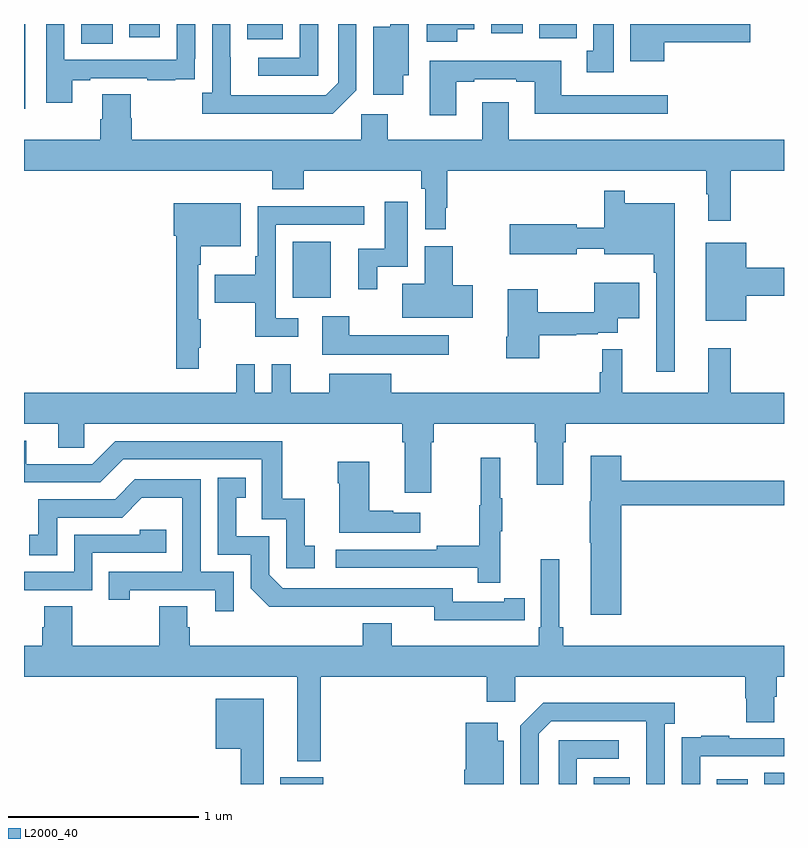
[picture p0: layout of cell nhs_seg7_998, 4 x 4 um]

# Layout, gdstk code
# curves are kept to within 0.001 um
import gdstk
lib = gdstk.Library(unit=1e-6, precision=1e-09)
def R(c, l, rs):  # rectangles x0, y0, x1, y1
    for r in rs: c.add(gdstk.rectangle(r[:2], r[2:], *l))
def P(c, l, *ps):  # polygons
    for p in ps: c.add(gdstk.Polygon(p, *l))
L2000_40 = (2000, 40)

nhs_seg7_998 = lib.new_cell('nhs_seg7_998')
R(nhs_seg7_998, L2000_40, [(184.349,1052,184.576,1052.035), (185.999,1052,186.187,1052.035), (186.647,1052,186.808,1052.026), (186.896,1052,187,1052.06), (184.415,1054.559,184.615,1054.855), (183,1055.553,183.007,1056), (183.302,1055.896,183.466,1056), (184.175,1055.921,184.363,1056), (185.711,1055.924,185.908,1056), (183.554,1055.931,183.715,1056), (185.459,1055.952,185.626,1056)])
P(nhs_seg7_998, L2000_40, [(184.548,1056),(184.452,1056),(184.452,1055.823),(184.233,1055.823),(184.233,1055.727),(184.548,1055.727)],
  [(186.103,1056),(185.996,1056),(185.996,1055.858),(185.963,1055.858),(185.963,1055.745),(186.103,1055.745)],
  [(184.996,1055.729),(185.025,1055.729),(185.025,1056),(184.928,1056),(184.928,1055.986),(184.838,1055.986),(184.838,1055.628),(184.996,1055.628)],
  [(183.253,1055.703),(183.349,1055.703),(183.349,1055.715),(183.649,1055.715),(183.649,1055.703),(183.797,1055.703),(183.797,1055.709),(183.899,1055.709),(183.899,1055.818),(183.9,1055.818),(183.9,1056),(183.804,1056),(183.804,1055.811),(183.213,1055.811),(183.213,1056),(183.117,1056),(183.117,1055.586),(183.253,1055.586)],
  [(184.749,1055.651),(184.749,1056),(184.653,1056),(184.653,1055.691),(184.587,1055.625),(184.087,1055.625),(184.086,1056),(183.99,1056),(183.99,1055.638),(183.939,1055.638),(183.939,1055.528),(184.626,1055.528)],
  [(186.37,1055.903),(186.823,1055.903),(186.823,1056),(186.191,1056),(186.191,1055.804),(186.37,1055.804)],
  [(185.281,1055.972),(185.371,1055.972),(185.371,1056),(185.12,1056),(185.12,1055.907),(185.281,1055.907)],
  [(185.275,1055.697),(185.371,1055.697),(185.371,1055.709),(185.591,1055.709),(185.591,1055.697),(185.687,1055.697),(185.687,1055.528),(186.388,1055.528),(186.388,1055.625),(185.827,1055.625),(185.827,1055.806),(185.135,1055.806),(185.135,1055.52),(185.275,1055.52)],
  [(185.551,1055.587),(185.411,1055.587),(185.411,1055.392),(184.915,1055.392),(184.915,1055.524),(184.776,1055.524),(184.776,1055.392),(183.566,1055.392),(183.566,1055.505),(183.561,1055.505),(183.561,1055.63),(183.413,1055.63),(183.413,1055.498),(183.401,1055.498),(183.401,1055.392),(183,1055.392),(183,1055.228),(184.307,1055.228),(184.307,1055.129),(184.472,1055.129),(184.472,1055.228),(185.092,1055.228),(185.092,1055.132),(185.112,1055.132),(185.112,1054.92),(185.221,1054.92),(185.221,1055.032),(185.228,1055.032),(185.228,1055.228),(186.591,1055.228),(186.591,1055.105),(186.602,1055.105),(186.602,1054.965),(186.719,1054.965),(186.719,1055.228),(187,1055.228),(187,1055.392),(185.551,1055.392)],
  [(186.424,1055.056),(186.163,1055.056),(186.163,1055.122),(186.053,1055.122),(186.053,1054.927),(185.908,1054.927),(185.908,1054.945),(185.556,1054.945),(185.556,1054.787),(185.908,1054.787),(185.908,1054.817),(186.053,1054.817),(186.053,1054.787),(186.315,1054.787),(186.315,1054.691),(186.327,1054.691),(186.327,1054.17),(186.424,1054.17)],
  [(184.858,1054.722),(185.02,1054.722),(185.02,1055.065),(184.898,1055.065),(184.898,1054.818),(184.76,1054.818),(184.76,1054.605),(184.858,1054.605)],
  [(183.92,1054.297),(183.931,1054.297),(183.931,1054.445),(183.918,1054.445),(183.918,1054.733),(183.931,1054.733),(183.931,1054.829),(184.141,1054.829),(184.141,1055.056),(183.788,1055.056),(183.788,1054.886),(183.802,1054.886),(183.802,1054.185),(183.92,1054.185)],
  [(184.444,1054.452),(184.326,1054.452),(184.326,1054.944),(184.792,1054.944),(184.792,1055.042),(184.555,1055.042),(184.555,1055.04),(184.23,1055.04),(184.23,1054.777),(184.218,1054.777),(184.218,1054.681),(184.003,1054.681),(184.003,1054.534),(184.218,1054.534),(184.218,1054.355),(184.444,1054.355)],
  [(186.802,1054.571),(187,1054.571),(187,1054.718),(186.802,1054.718),(186.802,1054.849),(186.587,1054.849),(186.587,1054.439),(186.802,1054.439)],
  [(185.362,1054.625),(185.256,1054.625),(185.256,1054.831),(185.108,1054.831),(185.108,1054.633),(184.991,1054.633),(184.991,1054.454),(185.362,1054.454)],
  [(185.712,1054.362),(185.906,1054.362),(185.906,1054.367),(186.02,1054.367),(186.02,1054.374),(186.124,1054.374),(186.124,1054.451),(186.238,1054.451),(186.238,1054.639),(186.002,1054.639),(186.002,1054.483),(185.704,1054.483),(185.704,1054.603),(185.546,1054.603),(185.546,1054.354),(185.539,1054.354),(185.539,1054.242),(185.712,1054.242)],
  [(185.236,1054.363),(184.711,1054.363),(184.711,1054.462),(184.571,1054.462),(184.571,1054.259),(185.236,1054.259)],
  [(184.933,1054.159),(184.607,1054.159),(184.607,1054.06),(184.403,1054.06),(184.403,1054.21),(184.305,1054.21),(184.305,1054.06),(184.215,1054.06),(184.215,1054.21),(184.118,1054.21),(184.118,1054.06),(183,1054.06),(183,1053.896),(183.179,1053.896),(183.179,1053.769),(183.318,1053.769),(183.318,1053.896),(184.991,1053.896),(184.991,1053.8),(185.003,1053.8),(185.003,1053.534),(185.143,1053.534),(185.143,1053.8),(185.156,1053.8),(185.156,1053.896),(185.687,1053.896),(185.687,1053.8),(185.699,1053.8),(185.699,1053.576),(185.839,1053.576),(185.839,1053.8),(185.852,1053.8),(185.852,1053.896),(187,1053.896),(187,1054.06),(186.719,1054.06),(186.719,1054.294),(186.602,1054.294),(186.602,1054.06),(186.149,1054.06),(186.149,1054.289),(186.043,1054.289),(186.043,1054.167),(186.031,1054.167),(186.031,1054.06),(184.933,1054.06)],
  [(184.531,1053.255),(184.478,1053.255),(184.478,1053.502),(184.36,1053.502),(184.36,1053.804),(183.48,1053.804),(183.36,1053.684),(183.013,1053.684),(183.013,1053.807),(183,1053.807),(183,1053.588),(183.402,1053.588),(183.522,1053.708),(184.251,1053.708),(184.251,1053.393),(184.38,1053.393),(184.38,1053.135),(184.531,1053.135)],
  [(186.143,1053.466),(187,1053.466),(187,1053.595),(186.143,1053.595),(186.143,1053.727),(185.984,1053.727),(185.984,1053.489),(185.977,1053.489),(185.977,1053.271),(185.984,1053.271),(185.984,1052.892),(186.143,1052.892)],
  [(185.507,1053.331),(185.518,1053.331),(185.518,1053.505),(185.507,1053.505),(185.507,1053.718),(185.404,1053.718),(185.404,1053.468),(185.397,1053.468),(185.397,1053.254),(185.173,1053.254),(185.173,1053.234),(184.641,1053.234),(184.641,1053.138),(185.389,1053.138),(185.389,1053.06),(185.507,1053.06)],
  [(185.086,1053.427),(184.943,1053.427),(184.943,1053.437),(184.816,1053.437),(184.816,1053.697),(184.651,1053.697),(184.651,1053.584),(184.658,1053.584),(184.658,1053.323),(185.086,1053.323)],
  [(185.528,1052.862),(185.636,1052.862),(185.636,1052.978),(185.528,1052.978),(185.528,1052.958),(185.256,1052.958),(185.256,1053.03),(184.362,1053.03),(184.29,1053.102),(184.29,1053.303),(184.117,1053.303),(184.117,1053.507),(184.166,1053.507),(184.166,1053.613),(184.02,1053.613),(184.02,1053.207),(184.194,1053.207),(184.194,1053.03),(184.292,1052.933),(185.16,1052.934),(185.16,1052.861)],
  [(184.104,1053.117),(183.93,1053.117),(183.93,1053.603),(183.584,1053.603),(183.479,1053.498),(183.076,1053.498),(183.076,1053.313),(183.027,1053.313),(183.027,1053.204),(183.174,1053.204),(183.174,1053.402),(183.516,1053.402),(183.62,1053.506),(183.834,1053.506),(183.834,1053.117),(183.445,1053.117),(183.445,1052.97),(183.556,1052.97),(183.556,1053.021),(184.007,1053.021),(184.007,1052.91),(184.104,1052.91)],
  [(183.36,1053.216),(183.749,1053.216),(183.749,1053.339),(183.609,1053.339),(183.609,1053.312),(183.264,1053.312),(183.264,1053.117),(183,1053.117),(183,1053.021),(183.36,1053.021)],
  [(184.561,1052.564),(185.435,1052.564),(185.435,1052.433),(185.586,1052.433),(185.586,1052.564),(186.797,1052.564),(186.797,1052.451),(186.802,1052.451),(186.802,1052.326),(186.949,1052.326),(186.949,1052.458),(186.962,1052.458),(186.962,1052.564),(187,1052.564),(187,1052.728),(185.837,1052.728),(185.837,1052.824),(185.818,1052.824),(185.818,1053.184),(185.721,1053.184),(185.721,1052.824),(185.708,1052.824),(185.708,1052.728),(184.936,1052.728),(184.936,1052.845),(184.784,1052.845),(184.784,1052.728),(183.872,1052.728),(183.872,1052.826),(183.859,1052.826),(183.859,1052.936),(183.712,1052.936),(183.712,1052.728),(183.255,1052.728),(183.255,1052.936),(183.107,1052.936),(183.107,1052.826),(183.095,1052.826),(183.095,1052.728),(183,1052.728),(183,1052.564),(184.439,1052.564),(184.439,1052.12),(184.561,1052.12)],
  [(184.261,1052.449),(184.01,1052.449),(184.01,1052.186),(184.14,1052.186),(184.14,1052),(184.261,1052)],
  [(185.709,1052.265),(185.775,1052.331),(186.275,1052.331),(186.276,1052),(186.372,1052),(186.372,1052.318),(186.424,1052.318),(186.424,1052.428),(185.734,1052.428),(185.613,1052.307),(185.613,1052),(185.709,1052)],
  [(185.524,1052.227),(185.494,1052.227),(185.494,1052.323),(185.324,1052.323),(185.324,1052.074),(185.317,1052.074),(185.317,1052),(185.524,1052)],
  [(186.558,1052.145),(187,1052.145),(187,1052.241),(186.713,1052.241),(186.713,1052.254),(186.565,1052.254),(186.565,1052.247),(186.463,1052.247),(186.463,1052.138),(186.462,1052.138),(186.462,1052),(186.558,1052)],
  [(185.91,1052.133),(186.13,1052.133),(186.13,1052.229),(185.814,1052.229),(185.814,1052),(185.91,1052)])

lib.write_gds('nhs_seg7_998.gds')
